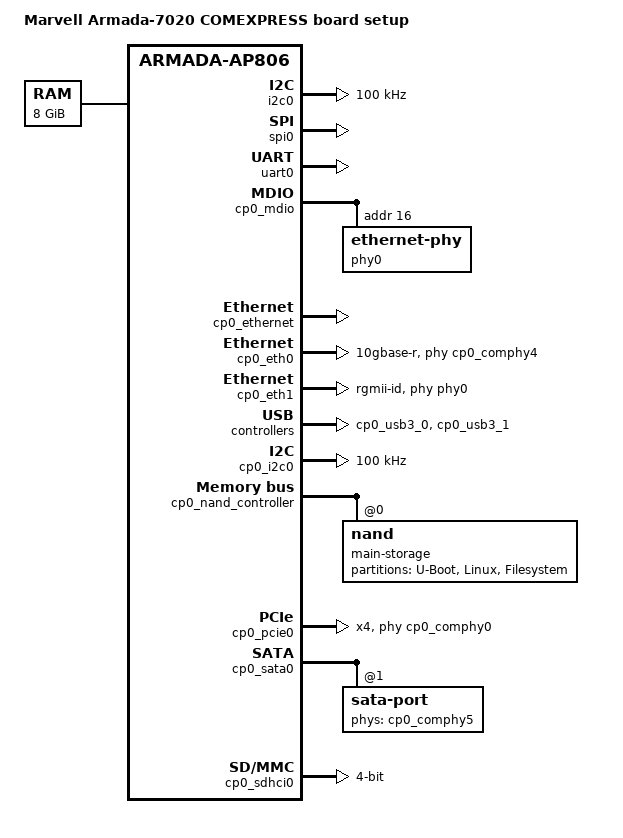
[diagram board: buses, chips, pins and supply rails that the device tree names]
// SPDX-License-Identifier: (GPL-2.0+ OR MIT)
/*
 * Copyright (C) 2023 Marvell Technology Group Ltd.
 *
 * Device Tree file for Marvell Armada 7020 Com Express CPU module board.
 */

#include "armada-7020.dtsi"

/ {
	model = "Marvell Armada-7020 COMEXPRESS board setup";
	compatible = "marvell,armada7020-cpu-module", "marvell,armada7020",
			"marvell,armada-ap806-dual", "marvell,armada-ap806";

	memory@0 {
		device_type = "memory";
		reg = <0x0 0x0 0x2 0x00000000>;
	};

	chosen {
		stdout-path = "serial0:115200n8";
	};

	aliases {
		ethernet0 = &cp0_eth0;
		ethernet1 = &cp0_eth1;
	};
};

&ap_clk {
	status = "okay";
};

&gic {
	status = "okay";
};

&i2c0 {
	status = "okay";
	clock-frequency = <100000>;
};

&spi0 {
	status = "okay";
};

&uart0 {
	status = "okay";
};

&cp0_mdio {
	status = "okay";

	phy0: ethernet-phy@10 {
		reg = <0x10>;
	};
};

&cp0_ethernet {
	status = "okay";
};

&cp0_eth0 {
	status = "okay";
	phy-mode = "10gbase-r";
	managed = "in-band-status";
	/* Generic PHY, providing serdes lanes */
	phys = <&cp0_comphy4 0>;
};

&cp0_eth1 {
	status = "okay";
	phy = <&phy0>;
	phy-mode = "rgmii-id";
};

&cp0_usb3_0 {
	status = "okay";
};

&cp0_usb3_1 {
	status = "okay";
};

&cp0_clk {
	status = "okay";
};

&cp0_i2c0 {
	status = "okay";
	clock-frequency = <100000>;
};

&cp0_nand_controller {
	status = "okay";

	nand@0 {
		reg = <0>;
		label = "main-storage";
		nand-rb = <0>;
		nand-ecc-mode = "hw";
		nand-on-flash-bbt;
		nand-ecc-strength = <8>;
		nand-ecc-step-size = <512>;

		partitions {
			compatible = "fixed-partitions";
			#address-cells = <1>;
			#size-cells = <1>;

			partition@0 {
				label = "U-Boot";
				reg = <0 0x400000>;
			};
			partition@200000 {
				label = "Linux";
				reg = <0x400000 0x100000>;
			};
			partition@1000000 {
				label = "Filesystem";
				reg = <0x500000 0x1e00000>;
			};
		};
	};
};

&cp0_pcie0 {
	status = "okay";
	num-lanes = <4>;
	num-viewport = <8>;

	ranges = <0x81000000 0x0 0xfa000000 0x0 0xfa000000 0x0 0x00010000
		  0x82000000 0x0 0x00000000 0x0 0xc0000000 0x0 0x30000000>;

	/* Generic PHY, providing serdes lanes */
	phys = <&cp0_comphy0 0
		&cp0_comphy1 0
		&cp0_comphy2 0
		&cp0_comphy3 0>;
};

&cp0_sata0 {
	/* CPM Lane 0 - U29 */
	status = "okay";

	sata-port@1 {
		status = "okay";
		/* Generic PHY, providing serdes lanes */
		phys = <&cp0_comphy5 1>;
	};
};

&cp0_sdhci0 {
	pinctrl-names = "default";
	pinctrl-0 = <&sdhci_pins>;
	status = "okay";
	bus-width = <4>;
	no-1-8-v;
	broken-cd;
};

